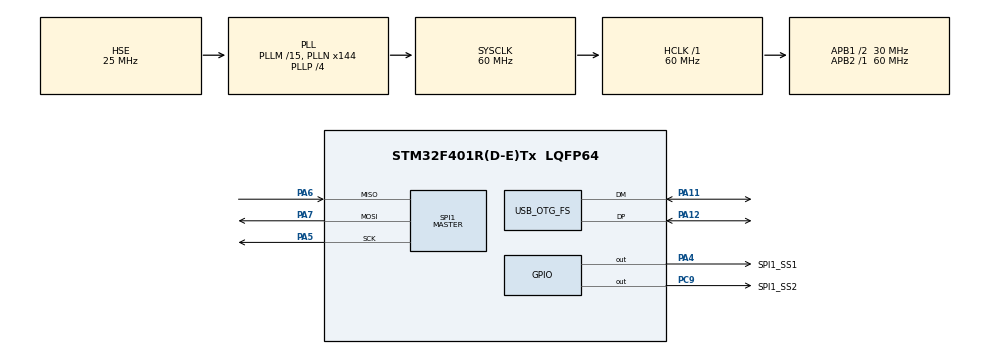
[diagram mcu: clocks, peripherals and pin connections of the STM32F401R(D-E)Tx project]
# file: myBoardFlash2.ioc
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Mcu.Family=STM32F4
Mcu.Name=STM32F401R(D-E)Tx
Mcu.Package=LQFP64
NVIC.OTG_FS_IRQn=true\:0\:0\:false\:false\:true\:true\:true
NVIC.PriorityGroup=NVIC_PRIORITYGROUP_4
PA11.Mode=Device_Only
PA11.Signal=USB_OTG_FS_DM
PA12.Mode=Device_Only
PA12.Signal=USB_OTG_FS_DP
PA13.Mode=Serial_Wire
PA13.Signal=SYS_JTMS-SWDIO
PA14.Mode=Serial_Wire
PA14.Signal=SYS_JTCK-SWCLK
PA4.GPIO_Label=SPI1_SS1
PA4.Signal=GPIO_Output
PA5.Mode=Full_Duplex_Master
PA5.Signal=SPI1_SCK
PA6.Mode=Full_Duplex_Master
PA6.Signal=SPI1_MISO
PA7.Mode=Full_Duplex_Master
PA7.Signal=SPI1_MOSI
PC9.GPIO_Label=SPI1_SS2
PC9.PinState=GPIO_PIN_SET
PC9.Signal=GPIO_Output
PH0\ -\ OSC_IN.Mode=HSE-External-Oscillator
PH0\ -\ OSC_IN.Signal=RCC_OSC_IN
PH1\ -\ OSC_OUT.Mode=HSE-External-Oscillator
PH1\ -\ OSC_OUT.Signal=RCC_OSC_OUT
ProjectManager.HeapSize=0x400
ProjectManager.StackSize=0x800
ProjectManager.TargetToolchain=MDK-ARM V5.32
RCC.48MHZClocksFreq_Value=48000000
RCC.AHBFreq_Value=60000000
RCC.APB1CLKDivider=RCC_HCLK_DIV2
RCC.APB1Freq_Value=30000000
RCC.APB1TimFreq_Value=60000000
RCC.APB2Freq_Value=60000000
RCC.APB2TimFreq_Value=60000000
RCC.CortexFreq_Value=60000000
RCC.EnbaleCSS=true
RCC.HCLKFreq_Value=60000000
RCC.HSE_VALUE=25000000
RCC.HSI_VALUE=16000000
RCC.LSE_VALUE=32768
RCC.PLLM=15
RCC.PLLN=144
RCC.PLLP=RCC_PLLP_DIV4
RCC.PLLQ=5
RCC.SYSCLKFreq_VALUE=60000000
RCC.SYSCLKSource=RCC_SYSCLKSOURCE_PLLCLK
RCC.USBFreq_Value=48000000
RCC.VCOOutputFreq_Value=240000000
SPI1.BaudRatePrescaler=SPI_BAUDRATEPRESCALER_64
SPI1.Direction=SPI_DIRECTION_2LINES
SPI1.Mode=SPI_MODE_MASTER
SPI1.VirtualType=VM_MASTER
USB_DEVICE.CLASS_NAME_FS=CDC
USB_DEVICE.VirtualMode-CDC_FS=Cdc
USB_DEVICE.VirtualModeFS=Cdc_FS
USB_OTG_FS.VirtualMode=Device_Only
VP_USB_DEVICE_VS_USB_DEVICE_CDC_FS.Mode=CDC_FS
board=custom

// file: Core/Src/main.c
/* USER CODE BEGIN Header */
/**
  ******************************************************************************
  * @file           : main.c
  * @brief          : Main program body
  ******************************************************************************
  * @attention
  *
  * <h2><center>&copy; Copyright (c) 2024 STMicroelectronics.
  * All rights reserved.</center></h2>
  *
  * This software component is licensed by ST under BSD 3-Clause license,
  * the "License"; You may not use this file except in compliance with the
  * License. You may obtain a copy of the License at:
  *                        opensource.org/licenses/BSD-3-Clause
  *
  ******************************************************************************
  */
/* USER CODE END Header */
#include "main.h"
#include "spi.h"
#include "usb_device.h"
#include "gpio.h"

/* USER CODE BEGIN Includes */

#include "usbd_cdc_if.h"
//#include "sst26_v2\SST26_v2.h"
#include "SST26.h"
/* USER CODE END Includes */

/* USER CODE BEGIN PV */

uint8_t str[1];
uint8_t dataReceived = 0;    // ??????? ?????? ????????
uint8_t dataTransmitted = 1; // ??????? ?????? ????????
uint8_t *Buf;

uint8_t flagBoard = 0;            // ??????? ?????? ????????
uint8_t receiveRingBuf[32] = {0}; // ??????? ?????? ????????

uint8_t requestTemperature = 0x5e;
uint8_t exitTemperature8[12] = {0};

// uart

uint8_t RxData[12] = {0};
uint8_t RxData6[60] = {0};
int indx = 0;
uint8_t fullPacket[12] = {0xFD, 0x55, 0};

//----------Log
//log1_t log1 = {0};
uint32_t currentID_log = 1;
//-----------extern flash

uint16_t numbSectorCurrent = 0;
uint32_t flashID = 0;

//---------Debug

uint32_t defaultTime = 0x937;
uint32_t defaultDate = 0x0134D879;
uint16_t countLogID = 0;

uint8_t testMassiveExtFlash[256] = {0};
//uint8_t testMassiveExtFlash[4096] = {0};
uint8_t testValue8 = 0xAA;
uint32_t testValue = 0xAAAAAAAA;
uint32_t freeAdressExtFlash = 0;
uint8_t rxDataFlash[2048] = {0};
//uint8_t rxDataFlash[4096] = {0};
uint8_t statusFlashExt = 0;

#define ziseRBPR 14
uint8_t rxDataFlash_RBPR[ziseRBPR] = {0};

  uint32_t sectorsNeeded = 0;
  uint32_t currentSector = 0;
  uint32_t remainingBytes = 0;
uint32_t currentID_flash = 1;

//--------

		uint32_t flashID;
		uint8_t status;

/* USER CODE END PV */

void SystemClock_Config(void);
/* USER CODE BEGIN PFP */

int	my_memcmp(void *dest, void *src, int size)
{
    unsigned char *p = dest;
    unsigned char *q = src;

    while (size > 0)
    {
        if (*p != *q)
        {
            return (*p - *q);
        }
        size--;
        p++;
        q++;
    }
    return 0;
}

/* USER CODE END PFP */

int main(void)
{

  /* MCU Configuration--------------------------------------------------------*/

  /* Reset of all peripherals, Initializes the Flash interface and the Systick. */
  HAL_Init();

  /* Configure the system clock */
  SystemClock_Config();

  /* Initialize all configured peripherals */
  MX_GPIO_Init();
  MX_SPI1_Init();
  MX_USB_DEVICE_Init();
  /* USER CODE BEGIN 2 */

  memset(testMassiveExtFlash, testValue8, 128);

////---------------v2

//  flash_GBPU();
//  HAL_Delay(5);
//  flash_sector_erase(107); //let's store data in the memory location 107 of flash
//  HAL_Delay(5);

//  uint8_t tx_buffer[6] = {1,2,3,4,5,6}; //sample data to send to flash
//  uint8_t rx_buffer[6];
//  flash_write(107,tx_buffer,6); //read from tx_buffer...
//  flash_read(107,rx_buffer,6); //...and store it in rx_buffer
//  HAL_Delay(1);
//  HAL_Delay(1);
//  HAL_Delay(1);

	//------------------
	//-----------V1 cheker

////  /* 1 - Verify that the identifier is correctly read */

		flashID = sFLASH_ReadIDv2();
		status = sFLASH_ReadStatusRegister();
		HAL_Delay(10);
		sFLASH_GlobalProtectionEnable();
		HAL_Delay(10);
  	sFLASH_EraseSector(107);
		HAL_Delay(10);
//		sFLASH_WritePage(testMassiveExtFlash, 107,sFLASH_SPI_SECTOR_SIZE);
//		HAL_Delay(1000);
		sFLASH_ReadBuffer(rxDataFlash, 107, sFLASH_SPI_SECTOR_SIZE);
		HAL_Delay(1000);
		HAL_Delay(10);

			//------------------
	//-----------V1

// //  /* 1 - Verify that the identifier is correctly read */
// 		flashID = sFLASH_ReadIDv2();
// 		status = sFLASH_ReadStatusRegister();
// 		HAL_Delay(10);
// 		sFLASH_GlobalProtectionEnable();
// 		HAL_Delay(10);
//   	sFLASH_EraseSector(0);
// 		HAL_Delay(10);

// 		sFLASH_WaitForWriteEnd();
// 		HAL_Delay(1000);
// 		sFLASH_WritePage(testMassiveExtFlash, 107,256);
// 		HAL_Delay(1000);
// 		sFLASH_ReadBuffer(rxDataFlash, 0, 2048);
// 		HAL_Delay(1000);
// 		HAL_Delay(10);
// //
// 		status = sFLASH_ReadStatusRegister();

//   if(sFLASH_MX25L6433F_ID != sFLASH_ReadID())
//   {
//     Error_Handler();
//   }

//currentID_flash = sFLASH_ReadIDv2();

//  /* 2 - determines how many sectors are needed to write the test image */
//  sectorsNeeded = 1;
//  remainingBytes = (sizeof(testMassiveExtFlash) % sFLASH_SPI_SECTOR_SIZE);

//  /* 3 - erases and writes the needed sectors */
//  for (currentSector = 0; currentSector < sectorsNeeded; currentSector++)
//  {
//    /* 3.1 - erases current sector */
//  	sFLASH_EraseSector(currentSector * sFLASH_SPI_SECTOR_SIZE);
//  	/* 3.2 - writes current sector */
//  	sFLASH_WriteBuffer(&testMassiveExtFlash[currentSector * sFLASH_SPI_SECTOR_SIZE], currentSector * sFLASH_SPI_SECTOR_SIZE, sFLASH_SPI_SECTOR_SIZE);
//  }
//  if(remainingBytes != 0)
//  {
//  	/* 3.3 - erases last sector for the remaining bytes */
//  	sFLASH_EraseSector(currentSector * sFLASH_SPI_SECTOR_SIZE);
//  	/* 3.4 - writes for the remaining bytes */
//  	sFLASH_WriteBuffer(&testMassiveExtFlash[currentSector * sFLASH_SPI_SECTOR_SIZE], currentSector * sFLASH_SPI_SECTOR_SIZE, remainingBytes);
//  }

//    /* 4 - reads and checks the selected sectors */
//  for (currentSector = 0; currentSector < sectorsNeeded; currentSector++)
//  {
//  	/* 4.1 - reads current sector */
//  	sFLASH_ReadBuffer(rxDataFlash, currentSector * sFLASH_SPI_SECTOR_SIZE, sFLASH_SPI_SECTOR_SIZE);
//  	/* 4.2 - checks current sector */
////  	if(my_memcmp((void *)rxDataFlash, (void *)&testMassiveExtFlash[currentSector * sFLASH_SPI_SECTOR_SIZE], sFLASH_SPI_SECTOR_SIZE) != 0)
////  	//if(memcmp(buffer_read, buffer_test, sFLASH_SPI_SECTOR_SIZE) != 0)
////  	{
////  		Error_Handler();
////  	}
//  }
//  if(remainingBytes != 0)
//  {
//    /* 4.3 - reads current sector */
//  	sFLASH_ReadBuffer(rxDataFlash, currentSector * sFLASH_SPI_SECTOR_SIZE, remainingBytes);
////  	/* 4.4 - checks current sector */
////  	if(my_memcmp((void *)rxDataFlash, (void *)&testMassiveExtFlash[currentSector * sFLASH_SPI_SECTOR_SIZE], remainingBytes) != 0)
////  	{
////      Error_Handler();
////  	}
//  }

//volatile uint16_t tempss = 0;
  /* USER CODE END 2 */

  /* Infinite loop */
  while (1)
  {

  }
}

void SystemClock_Config(void)
{
  RCC_OscInitTypeDef RCC_OscInitStruct = {0};
  RCC_ClkInitTypeDef RCC_ClkInitStruct = {0};

  /** Configure the main internal regulator output voltage
  */
  __HAL_RCC_PWR_CLK_ENABLE();
  __HAL_PWR_VOLTAGESCALING_CONFIG(PWR_REGULATOR_VOLTAGE_SCALE2);
  /** Initializes the RCC Oscillators according to the specified parameters
  * in the RCC_OscInitTypeDef structure.
  */
  RCC_OscInitStruct.OscillatorType = RCC_OSCILLATORTYPE_HSE;
  RCC_OscInitStruct.HSEState = RCC_HSE_ON;
  RCC_OscInitStruct.PLL.PLLState = RCC_PLL_ON;
  RCC_OscInitStruct.PLL.PLLSource = RCC_PLLSOURCE_HSE;
  RCC_OscInitStruct.PLL.PLLM = 15;
  RCC_OscInitStruct.PLL.PLLN = 144;
  RCC_OscInitStruct.PLL.PLLP = RCC_PLLP_DIV4;
  RCC_OscInitStruct.PLL.PLLQ = 5;
  if (HAL_RCC_OscConfig(&RCC_OscInitStruct) != HAL_OK)
  {
    Error_Handler();
  }
  /** Initializes the CPU, AHB and APB buses clocks
  */
  RCC_ClkInitStruct.ClockType = RCC_CLOCKTYPE_HCLK|RCC_CLOCKTYPE_SYSCLK
                              |RCC_CLOCKTYPE_PCLK1|RCC_CLOCKTYPE_PCLK2;
  RCC_ClkInitStruct.SYSCLKSource = RCC_SYSCLKSOURCE_PLLCLK;
  RCC_ClkInitStruct.AHBCLKDivider = RCC_SYSCLK_DIV1;
  RCC_ClkInitStruct.APB1CLKDivider = RCC_HCLK_DIV2;
  RCC_ClkInitStruct.APB2CLKDivider = RCC_HCLK_DIV1;

  if (HAL_RCC_ClockConfig(&RCC_ClkInitStruct, FLASH_LATENCY_1) != HAL_OK)
  {
    Error_Handler();
  }
  /** Enables the Clock Security System
  */
  HAL_RCC_EnableCSS();
}

void Error_Handler(void)
{
  __disable_irq();
  while (1)
  {
  }
}

/************************ (C) COPYRIGHT STMicroelectronics *****END OF FILE****/
